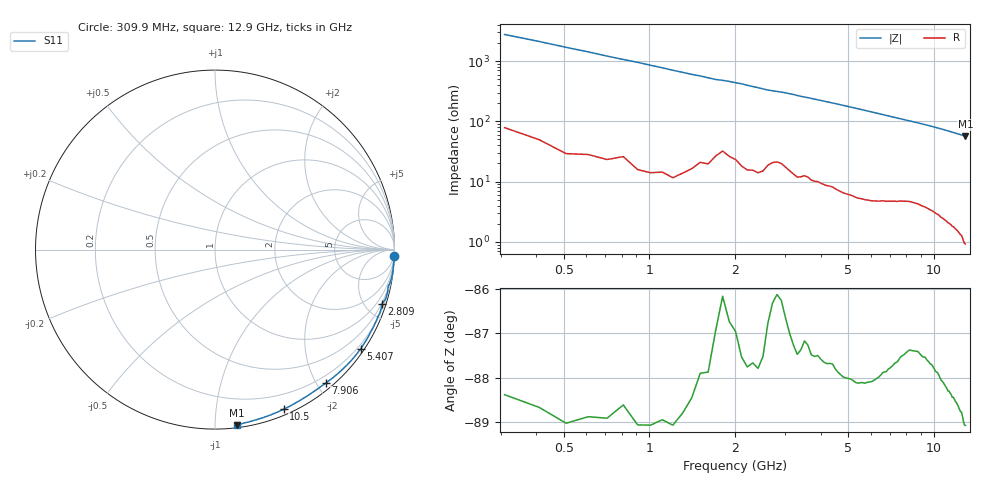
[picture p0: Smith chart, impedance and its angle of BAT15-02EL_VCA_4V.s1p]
! Infineon Technologies  Discrete & RF Semiconductors
! BAT15-02EL
! VCA = 4 V
! One-Port S-Parameters
# Hz  S  MA  R  50
!f  S11
!Hz  Mag  Ang
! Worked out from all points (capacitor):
!   127 points, 309.9 MHz to 12.9 GHz, reference 50 ohm
!   read as one part to ground: C = 184 fF near 309.9 MHz
!   lowest |Z| = 56.5 ohm at 12.9 GHz (marker M1)
!   S11 on the Smith chart (normalised r, x): 309.9 MHz: 2, -55; 2.809 GHz: 0.42, -6.26; 5.407 GHz: 0.11, -3.24; 7.906 GHz: 0.09, -2.12; 10.5 GHz: 0.05, -1.52; 12.9 GHz: 0.02, -1.13
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3.0985e8  0.999 -2.1
1.2094e9  0.9977 -8.1
1.6092e9  0.9931 -10.8
1.70915e9  0.9894 -11.5
1.8091e9  0.9863 -11.9
1.90905e9  0.9879 -12.4
2.10895e9  0.9899 -13.5
2.4088e9  0.9896 -15.7
2.6087e9  0.9835 -17.1
2.8086e9  0.9792 -18.1
2.90855e9  0.9795 -18.5
3.2084e9  0.9836 -20.3
3.30835e9  0.9842 -21.0
3.50825e9  0.9814 -22.3
4.10795e9  0.9822 -26.0
5.10745e9  0.9817 -32.3
5.4073e9  0.9817 -34.3
6.10695e9  0.979 -38.9
6.6067e9  0.9755 -42.1
7.10645e9  0.9724 -45.4
7.90605e9  0.9664 -50.4
8.2059e9  0.9644 -52.3
9.10545e9  0.964 -57.8
9.8051e9  0.9651 -62.2
1.050475e10  0.9683 -66.7
1.14043e10  0.9727 -72.8
1.210395e10  0.9764 -77.5
1.290355e10  0.984 -83.0
